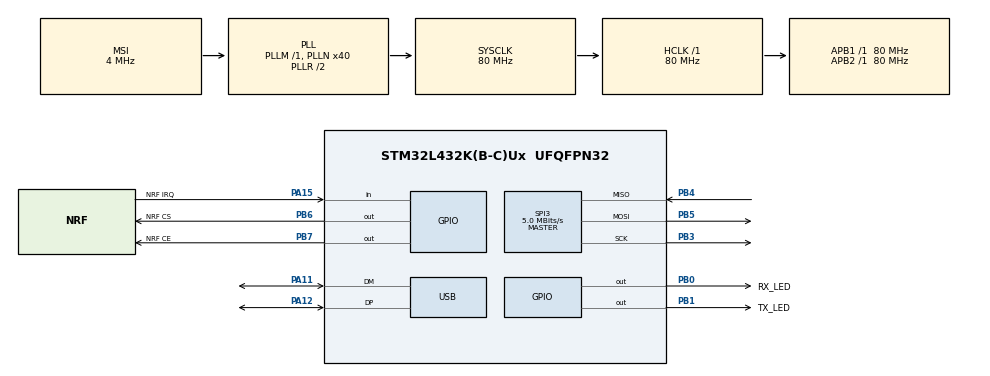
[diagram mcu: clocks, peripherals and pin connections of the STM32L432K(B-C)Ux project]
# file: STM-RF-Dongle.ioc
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Mcu.Family=STM32L4
RCC.MSI_VALUE=4000000
PA14\ (JTCK-SWCLK).Mode=Serial_Wire
USB_DEVICE.CLASS_NAME_FS=CDC
RCC.CortexFreq_Value=80000000
SPI3.Direction=SPI_DIRECTION_2LINES
SPI3.VirtualType=VM_MASTER
NVIC.USB_IRQn=true\:0\:0\:false\:false\:true\:false\:true
USB_DEVICE.VirtualModeFS=Cdc_FS
PA11.Mode=Device
PB6.GPIO_Label=NRF CS
PB0.GPIO_Label=RX_LED
PA15\ (JTDI).Signal=GPIO_Input
RCC.SYSCLKSource=RCC_SYSCLKSOURCE_PLLCLK
ProjectManager.StackSize=0x800
PB3\ (JTDO-TRACESWO).Signal=SPI3_SCK
PA14\ (JTCK-SWCLK).Signal=SYS_JTCK-SWCLK
PA12.Signal=USB_DP
ProjectManager.TargetToolchain=STM32CubeIDE
RCC.HCLKFreq_Value=80000000
VP_USB_DEVICE_VS_USB_DEVICE_CDC_FS.Mode=CDC_FS
RCC.APB2TimFreq_Value=80000000
PB6.Signal=GPIO_Output
RCC.USBFreq_Value=48000000
RCC.LSE_VALUE=32768
RCC.AHBFreq_Value=80000000
SPI3.DataSize=SPI_DATASIZE_8BIT
RCC.HSE_VALUE=8000000
board=custom
RCC.VCOOutputFreq_Value=160000000
RCC.APB2Freq_Value=80000000
SPI3.CalculateBaudRate=5.0 MBits/s
PB3\ (JTDO-TRACESWO).Mode=Full_Duplex_Master
PB1.GPIO_Label=TX_LED
PB5.Mode=Full_Duplex_Master
RCC.ADCFreq_Value=48000000
SPI3.BaudRatePrescaler=SPI_BAUDRATEPRESCALER_16
PB7.Signal=GPIO_Output
PB4\ (NJTRST).Mode=Full_Duplex_Master
PA15\ (JTDI).GPIO_Label=NRF IRQ
Mcu.Name=STM32L432K(B-C)Ux
PB7.GPIO_Label=NRF CE
PA13\ (JTMS-SWDIO).Mode=Serial_Wire
RCC.SYSCLKFreq_VALUE=80000000
Mcu.Package=UFQFPN32
PB5.Signal=SPI3_MOSI
PB1.Signal=GPIO_Output
PA12.Mode=Device
SPI3.Mode=SPI_MODE_MASTER
PA11.Signal=USB_DM
ProjectManager.HeapSize=0x800
RCC.HSI_VALUE=16000000
NVIC.PriorityGroup=NVIC_PRIORITYGROUP_4
RCC.PLLN=40
RCC.APB1TimFreq_Value=80000000
PA13\ (JTMS-SWDIO).Signal=SYS_JTMS-SWDIO
RCC.APB1Freq_Value=80000000
PB0.Signal=GPIO_Output
USB_DEVICE.VirtualMode=Cdc
RCC.HSI48_VALUE=48000000
RCC.PLLSAI1N=24
PB4\ (NJTRST).Signal=SPI3_MISO

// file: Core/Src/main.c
/* USER CODE BEGIN Header */
/*
____________________  _______________      _____  ________________       __________________   ________                     ______
__  ___/__  __/__   |/  /_|__  /_|__ \     __  / / /_  ___/__  __ )      ___  __ \__  ____/   ___  __ \___________________ ___  /____
_____ \__  /  __  /|_/ /___/_ <____/ /     _  / / /_____ \__  __  |________  /_/ /_  /_       __  / / /  __ \_  __ \_  __ `/_  /_  _ \
____/ /_  /   _  /  / / ____/ /_  __/      / /_/ / ____/ /_  /_/ /_/_____/  _, _/_  __/       _  /_/ // /_/ /  / / /  /_/ /_  / /  __/
/____/ /_/    /_/  /_/  /____/ /____/      \____/  /____/ /_____/        /_/ |_| /_/          /_____/ \____//_/ /_/_\__, / /_/  \___/
                                                                                                                   /____/
******************************************************************************
* @file           : main.c
* @brief          : Main program body
* @author         : Harry Dobbs
******************************************************************************
*/

/* USER CODE END Header */
#include "main.h"
#include "usb_device.h"

/* USER CODE BEGIN Includes */
#include "usbd_cdc_if.h"
#include "spi.h"
#include "nrf24.h"
/* USER CODE END Includes */

SPI_HandleTypeDef hspi3;

/* USER CODE BEGIN PV */
SPI_HandleTypeDef hspi3;
uint8_t RxData[5];
uint8_t address[5] = {0xAA,0xAA,0xAA,0xAA,0xAA};

uint8_t TxData[5] = "Hel\n";
/* USER CODE END PV */

void SystemClock_Config(void);
static void MX_GPIO_Init(void);
static void MX_SPI3_Init(void);
/* USER CODE BEGIN PFP */
void SystemClock_Config(void);
static void MX_GPIO_Init(void);
static void MX_SPI3_Init(void);
/* USER CODE END PFP */

int main(void)
{

  /* MCU Configuration--------------------------------------------------------*/

  /* Reset of all peripherals, Initializes the Flash interface and the Systick. */
  HAL_Init();

  /* Configure the system clock */
  SystemClock_Config();

  /* Initialize all configured peripherals */
  MX_GPIO_Init();
  MX_SPI3_Init();
  MX_USB_DEVICE_Init();
  /* USER CODE BEGIN 2 */
  NRF24_Init();
  //NRF24_ReadAll(&rxBuffer);

#if MODE == 0
  NRF24_TxMode(address,15);
#else if MODE == 1
  NRF24_RxMode(address, 15);
  //NRF24_ReadAll(data);
#endif
 // HAL_Delay(50);

  //NRF24_ReadAll(&rxBuffer);

  /* USER CODE END 2 */

  /* Infinite loop */
  while (1)
  {

    /* USER CODE BEGIN 3 */

#if MODE == 0

	  if(NRF24_Transmit(TxData) == 1)
	  {
		//sprintf(txBuffer,"%u\r\n",count);
		//CDC_Transmit_FS((uint8_t *) txBuffer,strlen(txBuffer));
	   	HAL_GPIO_TogglePin(GPIOB,GPIO_PIN_0);
	   	HAL_GPIO_TogglePin(GPIOB,GPIO_PIN_1);
	  }
	  HAL_Delay(1000);

#else if MODE == 1

	  if(isDataAvailable() == 1)
	  {
		  //NRF24_Receive(rxBuffer);

		  //HAL_GPIO_TogglePin(GPIOB,GPIO_PIN_0);
		  HAL_GPIO_TogglePin(GPIOB,GPIO_PIN_1);
		  HAL_GPIO_WritePin(GPIOB,GPIO_PIN_0,0);
		  //HAL_GPIO_WritePin(GPIOB,GPIO_PIN_1,1);
		  NRF24_Receive(RxData);
		  if(CDC_Transmit_FS((uint8_t *) RxData,strlen(RxData)) == 1)
		  {
			  HAL_GPIO_WritePin(GPIOB,GPIO_PIN_0,1);
		  }

	  }
	  HAL_Delay(100);

	  //HAL_Delay(100);
	  //NRF24_ReadAll(&rxBuffer);

	  //NRF24_ReadAll(&rxBuffer);

#endif

	//HAL_Delay(100);
  }

  /* USER CODE END 3 */
}

void SystemClock_Config(void)
{
  RCC_OscInitTypeDef RCC_OscInitStruct = {0};
  RCC_ClkInitTypeDef RCC_ClkInitStruct = {0};
  RCC_PeriphCLKInitTypeDef PeriphClkInit = {0};

  /** Initializes the RCC Oscillators according to the specified parameters
  * in the RCC_OscInitTypeDef structure.
  */
  RCC_OscInitStruct.OscillatorType = RCC_OSCILLATORTYPE_MSI;
  RCC_OscInitStruct.MSIState = RCC_MSI_ON;
  RCC_OscInitStruct.MSICalibrationValue = 0;
  RCC_OscInitStruct.MSIClockRange = RCC_MSIRANGE_6;
  RCC_OscInitStruct.PLL.PLLState = RCC_PLL_ON;
  RCC_OscInitStruct.PLL.PLLSource = RCC_PLLSOURCE_MSI;
  RCC_OscInitStruct.PLL.PLLM = 1;
  RCC_OscInitStruct.PLL.PLLN = 40;
  RCC_OscInitStruct.PLL.PLLP = RCC_PLLP_DIV7;
  RCC_OscInitStruct.PLL.PLLQ = RCC_PLLQ_DIV2;
  RCC_OscInitStruct.PLL.PLLR = RCC_PLLR_DIV2;
  if (HAL_RCC_OscConfig(&RCC_OscInitStruct) != HAL_OK)
  {
    Error_Handler();
  }
  /** Initializes the CPU, AHB and APB buses clocks
  */
  RCC_ClkInitStruct.ClockType = RCC_CLOCKTYPE_HCLK|RCC_CLOCKTYPE_SYSCLK
                              |RCC_CLOCKTYPE_PCLK1|RCC_CLOCKTYPE_PCLK2;
  RCC_ClkInitStruct.SYSCLKSource = RCC_SYSCLKSOURCE_PLLCLK;
  RCC_ClkInitStruct.AHBCLKDivider = RCC_SYSCLK_DIV1;
  RCC_ClkInitStruct.APB1CLKDivider = RCC_HCLK_DIV1;
  RCC_ClkInitStruct.APB2CLKDivider = RCC_HCLK_DIV1;

  if (HAL_RCC_ClockConfig(&RCC_ClkInitStruct, FLASH_LATENCY_4) != HAL_OK)
  {
    Error_Handler();
  }
  PeriphClkInit.PeriphClockSelection = RCC_PERIPHCLK_USB;
  PeriphClkInit.UsbClockSelection = RCC_USBCLKSOURCE_PLLSAI1;
  PeriphClkInit.PLLSAI1.PLLSAI1Source = RCC_PLLSOURCE_MSI;
  PeriphClkInit.PLLSAI1.PLLSAI1M = 1;
  PeriphClkInit.PLLSAI1.PLLSAI1N = 24;
  PeriphClkInit.PLLSAI1.PLLSAI1P = RCC_PLLP_DIV7;
  PeriphClkInit.PLLSAI1.PLLSAI1Q = RCC_PLLQ_DIV2;
  PeriphClkInit.PLLSAI1.PLLSAI1R = RCC_PLLR_DIV2;
  PeriphClkInit.PLLSAI1.PLLSAI1ClockOut = RCC_PLLSAI1_48M2CLK;
  if (HAL_RCCEx_PeriphCLKConfig(&PeriphClkInit) != HAL_OK)
  {
    Error_Handler();
  }
  /** Configure the main internal regulator output voltage
  */
  if (HAL_PWREx_ControlVoltageScaling(PWR_REGULATOR_VOLTAGE_SCALE1) != HAL_OK)
  {
    Error_Handler();
  }
}

static void MX_SPI3_Init(void)
{

  /* SPI3 parameter configuration*/
  hspi3.Instance = SPI3;
  hspi3.Init.Mode = SPI_MODE_MASTER;
  hspi3.Init.Direction = SPI_DIRECTION_2LINES;
  hspi3.Init.DataSize = SPI_DATASIZE_8BIT;
  hspi3.Init.CLKPolarity = SPI_POLARITY_LOW;
  hspi3.Init.CLKPhase = SPI_PHASE_1EDGE;
  hspi3.Init.NSS = SPI_NSS_SOFT;
  hspi3.Init.BaudRatePrescaler = SPI_BAUDRATEPRESCALER_16;
  hspi3.Init.FirstBit = SPI_FIRSTBIT_MSB;
  hspi3.Init.TIMode = SPI_TIMODE_DISABLE;
  hspi3.Init.CRCCalculation = SPI_CRCCALCULATION_DISABLE;
  hspi3.Init.CRCPolynomial = 7;
  hspi3.Init.CRCLength = SPI_CRC_LENGTH_DATASIZE;
  hspi3.Init.NSSPMode = SPI_NSS_PULSE_ENABLE;
  if (HAL_SPI_Init(&hspi3) != HAL_OK)
  {
    Error_Handler();
  }

}

static void MX_GPIO_Init(void)
{
  GPIO_InitTypeDef GPIO_InitStruct = {0};

  /* GPIO Ports Clock Enable */
  __HAL_RCC_GPIOB_CLK_ENABLE();
  __HAL_RCC_GPIOA_CLK_ENABLE();

  /*Configure GPIO pin Output Level */
  HAL_GPIO_WritePin(GPIOB, RX_LED_Pin|TX_LED_Pin|NRF_CS_Pin|NRF_CE_Pin, GPIO_PIN_RESET);

  /*Configure GPIO pins : RX_LED_Pin TX_LED_Pin NRF_CS_Pin NRF_CE_Pin */
  GPIO_InitStruct.Pin = RX_LED_Pin|TX_LED_Pin|NRF_CS_Pin|NRF_CE_Pin;
  GPIO_InitStruct.Mode = GPIO_MODE_OUTPUT_PP;
  GPIO_InitStruct.Pull = GPIO_NOPULL;
  GPIO_InitStruct.Speed = GPIO_SPEED_FREQ_LOW;
  HAL_GPIO_Init(GPIOB, &GPIO_InitStruct);

  /*Configure GPIO pin : NRF_IRQ_Pin */
  GPIO_InitStruct.Pin = NRF_IRQ_Pin;
  GPIO_InitStruct.Mode = GPIO_MODE_INPUT;
  GPIO_InitStruct.Pull = GPIO_NOPULL;
  HAL_GPIO_Init(NRF_IRQ_GPIO_Port, &GPIO_InitStruct);

}

void Error_Handler(void)
{
  __disable_irq();
  while (1)
  {
  }
}

/************************ (C) COPYRIGHT STMicroelectronics *****END OF FILE****/
